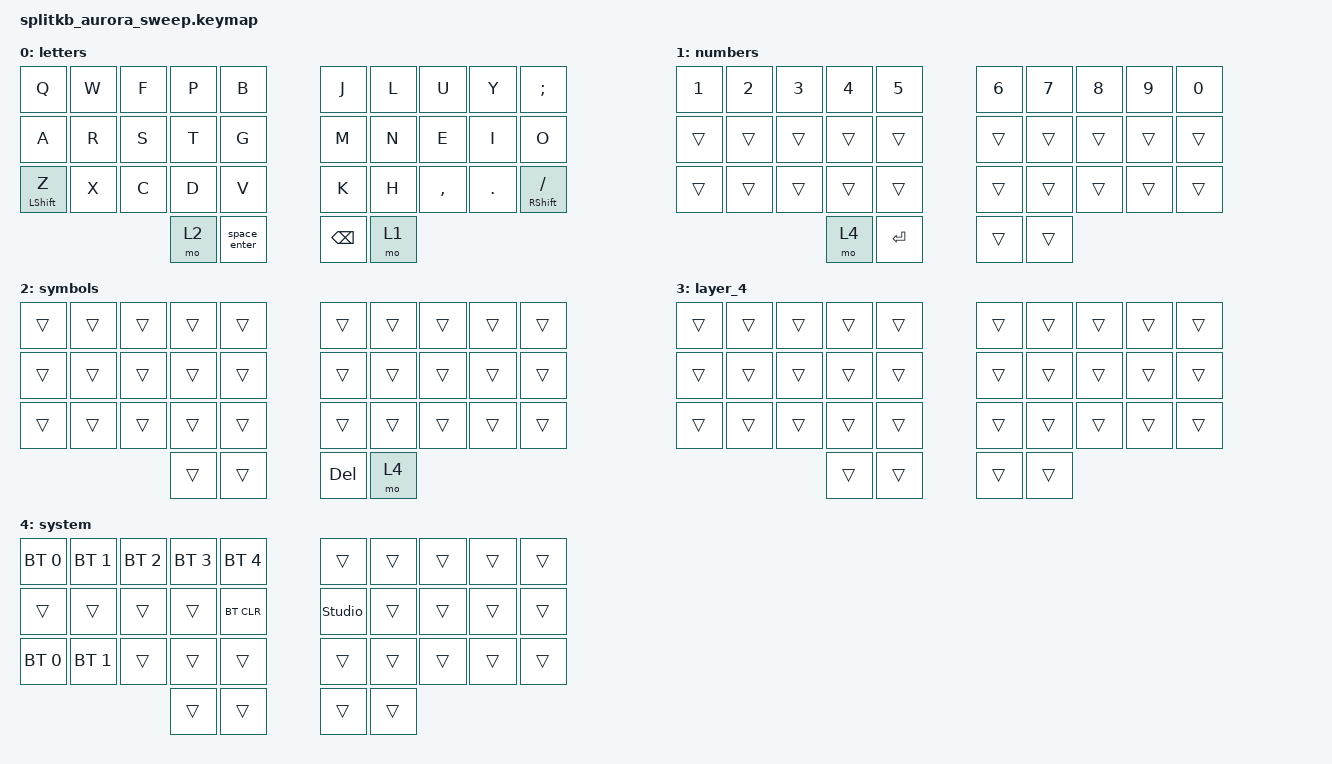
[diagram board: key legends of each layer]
/*
 * Copyright (c) 2022 The ZMK Contributors
 *
 * SPDX-License-Identifier: MIT
 */

#include <behaviors.dtsi>
#include <dt-bindings/zmk/bt.h>
#include <dt-bindings/zmk/keys.h>

&mt {
    //  flavor = "tap-preferred";
    // tapping_term_ms = <200>;
};

/ {
    combos {
        compatible = "zmk,combos";

        Escape {
            bindings = <&kp ESCAPE>;
            key-positions = <0 1>;
        };
    };

    behaviors {
        space_enter: space_enter {
            compatible = "zmk,behavior-tap-dance";
            label = "SPACE_ENTER";
            #binding-cells = <0>;
            bindings = <&kp SPACE>, <&kp ENTER>;
        };
    };

    keymap {
        compatible = "zmk,keymap";

        letters {
            bindings = <
&kp Q         &kp W         &kp F  &kp P  &kp B    &kp J  &kp L  &kp U      &kp Y          &kp SEMICOLON
&kp A         &kp R         &kp S  &kp T  &kp G    &kp M  &kp N  &kp E      &kp I          &kp O
&mt LSHIFT Z  &kp X         &kp C  &kp D  &kp V    &kp K  &kp H  &kp COMMA  &kp DOT        &mt RSHIFT SLASH
&mo 2         &space_enter                                                  &kp BACKSPACE  &mo 1
            >;
        };

        numbers {
            bindings = <
&kp NUMBER_1  &kp NUMBER_2  &kp NUMBER_3  &kp NUMBER_4  &kp N5    &kp NUMBER_6  &kp N7  &kp N8  &kp N9  &kp N0
&trans        &trans        &trans        &trans        &trans    &trans        &trans  &trans  &trans  &trans
&trans        &trans        &trans        &trans        &trans    &trans        &trans  &trans  &trans  &trans
&mo 4         &kp ENTER                                                                         &trans  &trans
            >;
        };

        symbols {
            bindings = <
&trans  &trans  &trans  &trans  &trans    &trans  &trans  &trans  &trans      &trans
&trans  &trans  &trans  &trans  &trans    &trans  &trans  &trans  &trans      &trans
&trans  &trans  &trans  &trans  &trans    &trans  &trans  &trans  &trans      &trans
&trans  &trans                                                    &kp DELETE  &mo 4
            >;
        };

        layer_4 {
            bindings = <
&trans  &trans  &trans  &trans  &trans    &trans  &trans  &trans  &trans  &trans
&trans  &trans  &trans  &trans  &trans    &trans  &trans  &trans  &trans  &trans
&trans  &trans  &trans  &trans  &trans    &trans  &trans  &trans  &trans  &trans
&trans  &trans                                                    &trans  &trans
            >;
        };

        system {
            bindings = <
&bt BT_SEL 0  &bt BT_SEL 1  &bt BT_SEL 2  &bt BT_SEL 3  &bt BT_SEL 4    &trans          &trans  &trans  &trans  &trans
&trans        &trans        &trans        &trans        &bt BT_CLR      &studio_unlock  &trans  &trans  &trans  &trans
&bt BT_SEL 0  &bt BT_SEL 1  &trans        &trans        &trans          &trans          &trans  &trans  &trans  &trans
&trans        &trans                                                                                    &trans  &trans
            >;
        };
    };

    conditional_layers { compatible = "zmk,conditional-layers"; };
};
